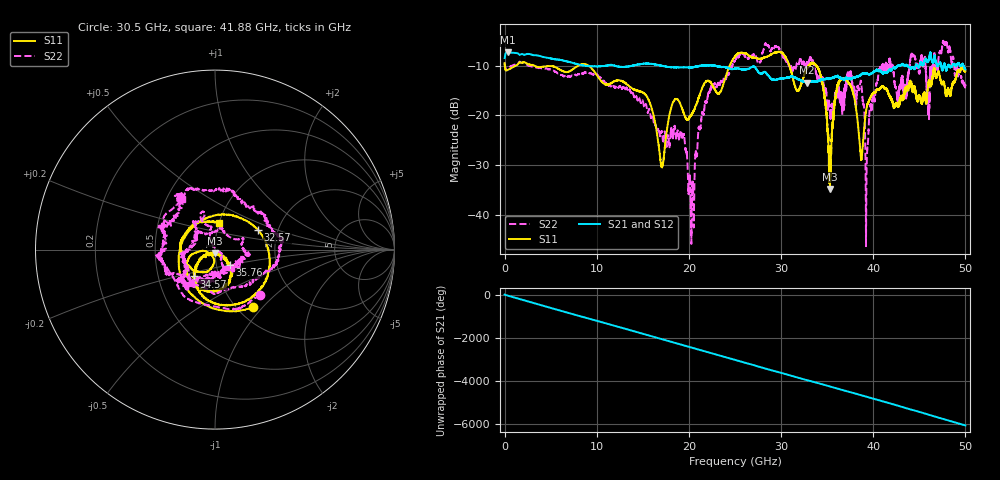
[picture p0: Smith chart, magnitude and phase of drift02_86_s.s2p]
!Created with skrf (http://scikit-rf.org).
# Hz S RI R 50.0
!freq ReS11 ImS11 ReS21 ImS21 ReS12 ImS12 ReS22 ImS22
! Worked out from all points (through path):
!   10001 points, 300 kHz to 50 GHz, reference 50 ohm
!   highest |S21| = -7.32 dB at 325.3 MHz (marker M1); lowest = -13.5 dB at 32.77 GHz (marker M2)
!   group delay of S21, straight-line fit = 335 ps
!   lowest |S11| = -34.8 dB at 35.31 GHz (marker M3), VSWR 1.04, Z = 49.8 - j1.81 ohm
!   |S11| at or under -10 dB: 3.228 GHz to 8.006 GHz (4.778 GHz wide, 85.1 % of centre); 9.108 GHz to 24.41 GHz (15.31 GHz wide, 91.3 % of centre); 33.85 GHz to 49.6 GHz (15.75 GHz wide, 37.7 % of centre) (the widest 3 of 10)
!   |S22| runs from -46.3 to -4.9 dB; largest |S21 - S12| = 0.014
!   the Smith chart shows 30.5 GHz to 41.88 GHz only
!   S11 on the Smith chart (normalised r, x): 30.5 GHz: 1.18, -0.89; 32.57 GHz: 1.58, +0.37; 34.57 GHz: 0.76, -0.24; 35.76 GHz: 1.16, -0.20; 41.88 GHz: 1.00, +0.30
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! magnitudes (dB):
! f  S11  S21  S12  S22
! 300 kHz  -9.5  -8.5  -8.5  -9.4
! 325.3 MHz  -10.9  -7.3  -7.3  -10.6
! 8.335 GHz  -9.7  -9.9  -9.9  -11.6
! 16.67 GHz  -25.4  -9.9  -9.9  -22.8
! 19.31 GHz  -18.9  -10.4  -10.3  -24.5
! 20.37 GHz  -19.5  -10.4  -10.3  -34.0
! 21.94 GHz  -13.1  -9.9  -9.9  -17.2
! 25 GHz  -8.2  -10.6  -10.6  -9.0
! 30.5 GHz  -8.3  -12.5  -12.4  -9.0
! 32.57 GHz  -11.6  -13.2  -13.3  -10.2
! 32.77 GHz  -10.8  -13.5  -13.5  -9.8
! 33.34 GHz  -9.6  -13.1  -13.2  -9.0
! 34.57 GHz  -14.4  -12.7  -12.7  -12.9
! 35.31 GHz  -34.8  -12.6  -12.5  -19.2
! 35.76 GHz  -18.5  -12.3  -12.3  -18.1
! 37.25 GHz  -13.2  -12.5  -12.5  -12.2
! 38.55 GHz  -26.0  -12.0  -12.0  -14.0
! 39.32 GHz  -18.2  -11.6  -11.6  -28.3
! 41.67 GHz  -15.7  -11.0  -11.0  -9.6
! 41.88 GHz  -16.5  -11.0  -10.9  -9.5
! 47.77 GHz  -14.5  -9.8  -9.7  -5.7
! 50 GHz  -11.1  -10.8  -10.7  -14.1
